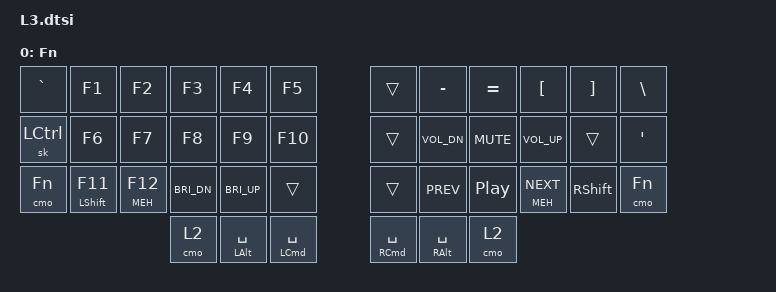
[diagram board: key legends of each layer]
/**
 * Function / System Layer
 */

/ {
  keymap {
    compatible = "zmk,keymap";

    layer_3 {
      label = "Fn";
      bindings = <
// ╭───────────────┬───────────────┬───────────────┬───────────────┬───────────────┬───────────────╮   ╭───────────────┬───────────────┬───────────────┬───────────────┬───────────────┬───────────────╮
//  0               1               2               3               4               5                   6               7               8               9               10              11
    &kp GRAVE       &kp F1          &kp F2          &kp F3          &kp F4          &kp F5              &trans          &kp MINUS       &kp EQUAL       &kp LBKT        &kp RBKT        &kp BSLH
// ├───────────────├───────────────┼───────────────┼───────────────┼───────────────┼───────────────┤   ├───────────────├───────────────┼───────────────┼───────────────┼───────────────┼───────────────┤
//  12              13              14              15              16              17                  18              19              20              21              22              23
    &sk LCTRL       &kp F6          &kp F7          &kp F8          &kp F9          &kp F10             &trans          &kp C_VOL_DN    &kp C_MUTE      &kp C_VOL_UP    &trans          &kp SQT
// ├───────────────├───────────────┼───────────────┼───────────────┼───────────────┼───────────────┤   ├───────────────├───────────────┼───────────────┼───────────────┼───────────────┼───────────────┤
//  24              25              26              27              28              29                  30              31              32              33              34              35
    &cmo Fn         &mt LSHFT F11   &mt MEH F12     &kp C_BRI_DN    &kp C_BRI_UP    &trans              &trans          &kp C_PREV      &kp C_PP        &mt MEH C_NEXT  &kp RSHFT       &cmo Fn
// ╰───────────────┴───────────────┴───────────────┼───────────────┼───────────────┼───────────────┤   ├───────────────├───────────────┼───────────────┼───────────────┴───────────────┴───────────────╯
//                                                  36              37              38                  39              40              41
                                                    &cmo L2         &mt LALT SPACE  &mt LCMD SPACE      &mt RCMD SPACE  &mt RALT SPACE  &cmo L2
//                                                 ╰───────────────┴───────────────┴───────────────╯   ╰───────────────┴───────────────┴───────────────╯
      >;
    };
  };
};
